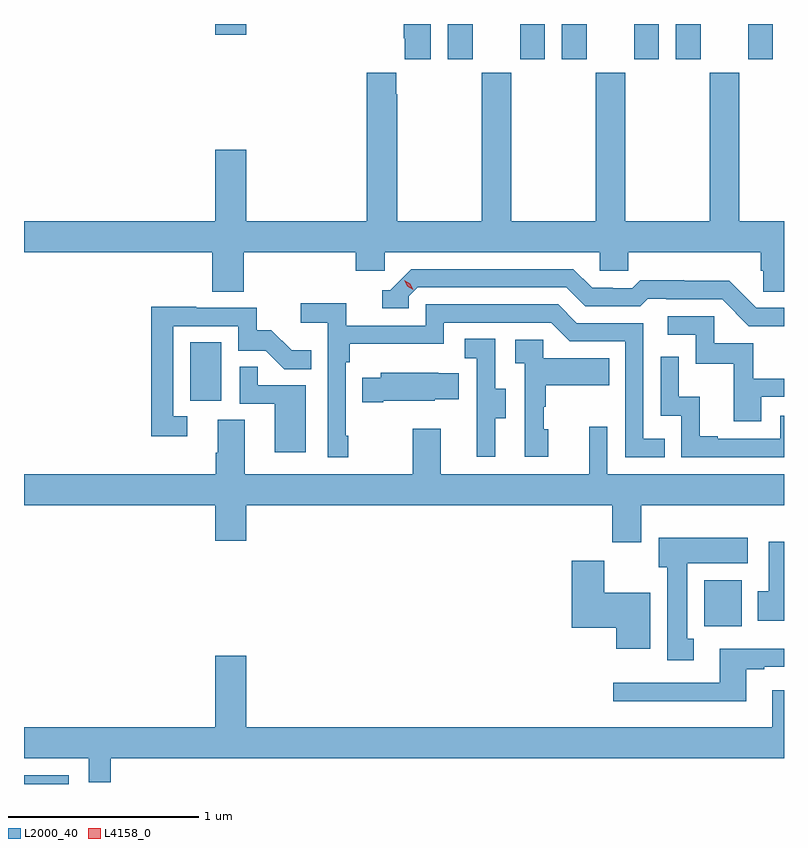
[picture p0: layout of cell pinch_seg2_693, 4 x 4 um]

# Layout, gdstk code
import gdstk
lib = gdstk.Library(unit=1e-6, precision=1e-09)
def R(c, l, rs):  # rectangles x0, y0, x1, y1
    for r in rs: c.add(gdstk.rectangle(r[:2], r[2:], *l))
def P(c, l, *ps):  # polygons
    for p in ps: c.add(gdstk.Polygon(p, *l))
L2000_40 = (2000, 40)
L4158_0 = (4158, 0)

pinch_seg2_693 = lib.new_cell('pinch_seg2_693')
R(pinch_seg2_693, L2000_40, [(1141.024,594.221,1141.26,594.267), (1144.604,595.052,1144.801,595.294), (1141.898,596.238,1142.062,596.545), (1143.254,598.035,1143.385,598.221), (1143.635,598.035,1143.766,598.221), (1143.854,598.035,1143.985,598.221), (1144.235,598.035,1144.366,598.221), (1144.454,598.035,1144.585,598.221), (1144.835,598.035,1144.966,598.221), (1142.03,598.164,1142.194,598.221)])
P(pinch_seg2_693, L2000_40, [(1143.166,598.221),(1143.023,598.221),(1143.023,598.147),(1143.029,598.147),(1143.029,598.035),(1143.166,598.035)],
  [(1142.18,597.02),(1142.771,597.02),(1142.771,596.922),(1142.922,596.922),(1142.922,597.02),(1144.053,597.02),(1144.053,596.922),(1144.203,596.922),(1144.203,597.02),(1144.901,597.02),(1144.901,596.922),(1144.915,596.922),(1144.915,596.812),(1145.024,596.812),(1145.024,597.184),(1144.788,597.184),(1144.788,597.964),(1144.633,597.964),(1144.633,597.184),(1144.188,597.184),(1144.188,597.964),(1144.033,597.964),(1144.033,597.184),(1143.588,597.184),(1143.588,597.964),(1143.433,597.964),(1143.433,597.184),(1142.988,597.184),(1142.988,597.851),(1142.983,597.851),(1142.983,597.964),(1142.828,597.964),(1142.828,597.184),(1142.194,597.184),(1142.194,597.559),(1142.03,597.559),(1142.03,597.184),(1141.024,597.184),(1141.024,597.02),(1142.015,597.02),(1142.015,596.812),(1142.18,596.812)],
  [(1145.024,596.727),(1144.878,596.727),(1144.736,596.869),(1144.5,596.869),(1144.5,596.872),(1144.267,596.872),(1144.225,596.829),(1144.122,596.829),(1144.122,596.832),(1144.015,596.832),(1143.916,596.931),(1143.063,596.931),(1142.952,596.82),(1142.909,596.82),(1142.909,596.724),(1143.048,596.724),(1143.048,596.787),(1143.096,596.835),(1143.879,596.835),(1143.978,596.736),(1144.267,596.736),(1144.306,596.775),(1144.405,596.775),(1144.405,596.772),(1144.698,596.772),(1144.839,596.631),(1145.024,596.631)],
  [(1142.731,596.053),(1142.718,596.053),(1142.718,596.441),(1142.738,596.441),(1142.738,596.537),(1143.234,596.537),(1143.234,596.649),(1143.798,596.649),(1143.897,596.55),(1144.188,596.55),(1144.188,595.941),(1144.397,595.941),(1144.397,596.037),(1144.284,596.037),(1144.284,596.646),(1143.934,596.646),(1143.835,596.745),(1143.138,596.745),(1143.138,596.634),(1142.72,596.634),(1142.72,596.75),(1142.481,596.75),(1142.481,596.648),(1142.622,596.648),(1142.622,595.941),(1142.731,595.941)],
  [(1141.882,596.157),(1141.809,596.157),(1141.809,596.631),(1142.151,596.631),(1142.151,596.502),(1142.296,596.502),(1142.394,596.404),(1142.537,596.404),(1142.537,596.503),(1142.433,596.503),(1142.326,596.61),(1142.25,596.61),(1142.25,596.727),(1141.931,596.727),(1141.931,596.732),(1141.693,596.732),(1141.693,596.052),(1141.882,596.052)],
  [(1144.903,596.259),(1145.024,596.259),(1145.024,596.355),(1144.861,596.355),(1144.861,596.541),(1144.656,596.541),(1144.656,596.682),(1144.413,596.682),(1144.413,596.586),(1144.56,596.586),(1144.56,596.433),(1144.759,596.433),(1144.759,596.13),(1144.903,596.13)],
  [(1143.505,596.146),(1143.559,596.146),(1143.559,596.301),(1143.504,596.301),(1143.504,596.564),(1143.345,596.564),(1143.345,596.461),(1143.408,596.461),(1143.408,596.157),(1143.407,596.157),(1143.407,595.944),(1143.505,595.944)],
  [(1143.784,596.088),(1143.759,596.088),(1143.759,596.207),(1143.769,596.207),(1143.769,596.321),(1144.103,596.321),(1144.103,596.461),(1143.756,596.461),(1143.756,596.559),(1143.609,596.559),(1143.609,596.435),(1143.66,596.435),(1143.66,595.944),(1143.784,595.944)],
  [(1145.024,596.16),(1145.004,596.16),(1145.004,596.037),(1144.675,596.037),(1144.675,596.05),(1144.58,596.05),(1144.58,596.258),(1144.47,596.258),(1144.47,596.47),(1144.374,596.47),(1144.374,596.16),(1144.482,596.16),(1144.482,595.941),(1145.024,595.941)],
  [(1142.506,596.319),(1142.255,596.319),(1142.255,596.417),(1142.16,596.417),(1142.16,596.223),(1142.345,596.223),(1142.345,595.968),(1142.506,595.968)],
  [(1142.914,596.237),(1143.186,596.237),(1143.186,596.246),(1143.311,596.246),(1143.311,596.383),(1143.203,596.383),(1143.203,596.386),(1142.901,596.386),(1142.901,596.359),(1142.803,596.359),(1142.803,596.23),(1142.914,596.23)],
  [(1144.273,595.688),(1145.024,595.688),(1145.024,595.852),(1144.095,595.852),(1144.095,596.101),(1143.998,596.101),(1143.998,595.852),(1143.217,595.852),(1143.217,596.092),(1143.07,596.092),(1143.07,595.852),(1142.185,595.852),(1142.185,596.138),(1142.045,596.138),(1142.045,595.964),(1142.033,595.964),(1142.033,595.852),(1141.024,595.852),(1141.024,595.688),(1142.03,595.688),(1142.03,595.5),(1142.194,595.5),(1142.194,595.688),(1144.121,595.688),(1144.121,595.494),(1144.273,595.494)],
  [(1144.549,594.986),(1144.516,594.986),(1144.516,595.382),(1144.834,595.382),(1144.834,595.516),(1144.364,595.516),(1144.364,595.362),(1144.409,595.362),(1144.409,594.873),(1144.549,594.873)],
  [(1145.024,595.495),(1144.943,595.495),(1144.943,595.236),(1144.886,595.236),(1144.886,595.08),(1145.024,595.08)],
  [(1144.321,595.228),(1144.078,595.228),(1144.078,595.396),(1143.908,595.396),(1143.908,595.043),(1144.142,595.043),(1144.142,594.932),(1144.321,594.932)],
  [(1144.825,594.825),(1144.921,594.825),(1144.921,594.837),(1145.024,594.837),(1145.024,594.934),(1144.685,594.934),(1144.685,594.753),(1144.125,594.753),(1144.125,594.656),(1144.825,594.656)],
  [(1141.481,594.356),(1145.024,594.356),(1145.024,594.715),(1144.961,594.715),(1144.961,594.52),(1142.194,594.52),(1142.194,594.895),(1142.03,594.895),(1142.03,594.52),(1141.024,594.52),(1141.024,594.356),(1141.365,594.356),(1141.365,594.229),(1141.481,594.229)])
P(pinch_seg2_693, L4158_0, [(1143.072,596.822),(1143.042,596.841),(1143.025,596.873),(1143.025,596.873),(1143.025,596.873),(1143.056,596.854),(1143.073,596.822),(1143.073,596.822)])

lib.write_gds('pinch_seg2_693.gds')
